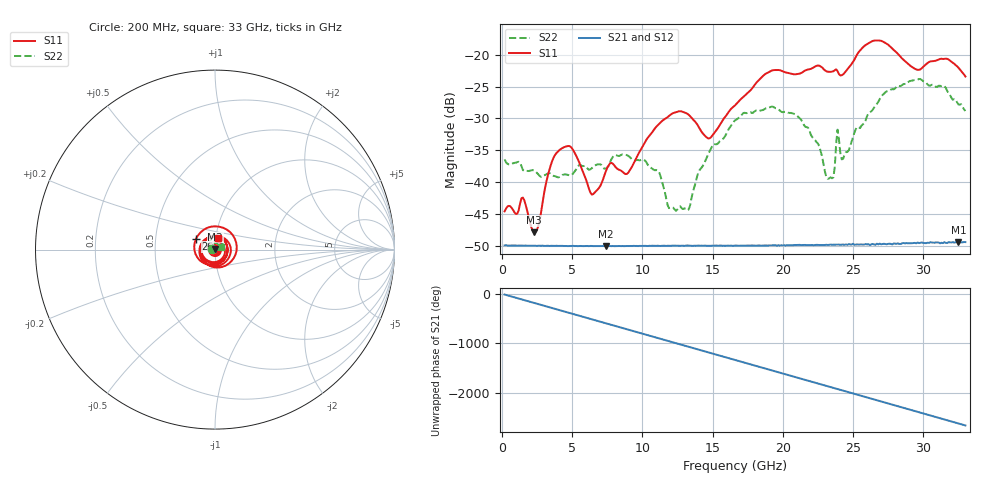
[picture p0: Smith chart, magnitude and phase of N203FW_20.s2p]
# GHZ S RI R 50
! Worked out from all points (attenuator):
!   329 points, 200 MHz to 33 GHz, reference 50 ohm
!   highest |S21| = -49.42 dB at 32.5 GHz (marker M1); lowest = -50.1 dB at 7.4 GHz (marker M2)
!   lowest |S11| = -47.9 dB at 2.3 GHz (marker M3), VSWR 1.01, Z = 50.1 + j0.385 ohm
!   |S11| at or under -10 dB: start of sweep to end of sweep
!   |S22| runs from -44.5 to -23.8 dB; largest |S21 - S12| = 8.8e-05
!   S11 on the Smith chart (normalised r, x): 200 MHz: 1.01, +0.00; 26 GHz: 0.80, +0.10; 33 GHz: 1.03, +0.13
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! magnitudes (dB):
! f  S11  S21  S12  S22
! 200 MHz  -44.6  -50.0  -49.9  -36.4
! 1.5 GHz  -42.4  -50.0  -50.0  -38.1
! 2.3 GHz  -47.9  -50.0  -50.0  -38.2
! 3.8 GHz  -35.7  -50.0  -50.0  -39.1
! 5.7 GHz  -38.0  -50.1  -50.0  -37.5
! 6.4 GHz  -42.0  -50.1  -50.1  -37.8
! 7.4 GHz  -38.3  -50.1  -50.0  -37.9
! 9 GHz  -38.5  -50.1  -50.1  -35.9
! 11.2 GHz  -30.9  -50.0  -50.0  -38.5
! 11.9 GHz  -29.6  -50.0  -50.0  -44.1
! 13.3 GHz  -29.4  -50.0  -50.0  -44.3
! 14.8 GHz  -33.1  -50.0  -50.0  -35.1
! 16.6 GHz  -27.9  -50.0  -50.0  -30.3
! 19.3 GHz  -22.4  -49.9  -50.0  -28.2
! 22.1 GHz  -22.1  -49.9  -49.9  -32.9
! 23.5 GHz  -22.6  -49.9  -49.8  -39.4
! 23.9 GHz  -22.6  -49.9  -49.9  -31.8
! 24.3 GHz  -23.1  -49.8  -49.8  -36.3
! 26 GHz  -18.3  -49.8  -49.8  -29.6
! 27.6 GHz  -18.6  -49.7  -49.7  -25.6
! 32.5 GHz  -22.0  -49.4  -49.4  -27.8
! 33 GHz  -23.4  -49.4  -49.5  -28.8
